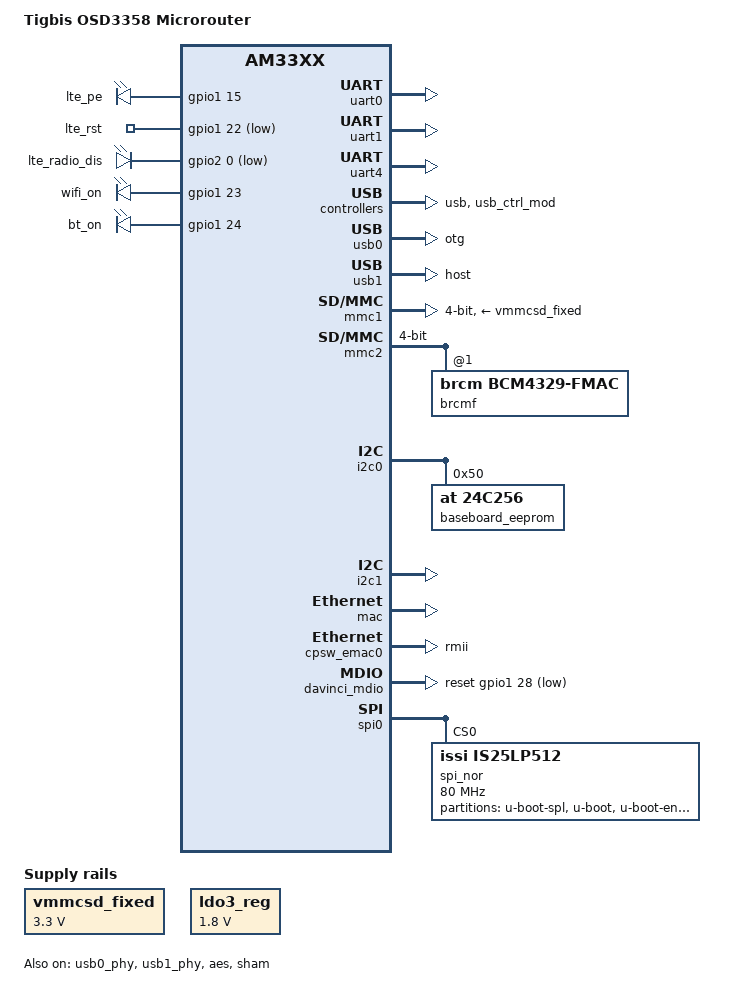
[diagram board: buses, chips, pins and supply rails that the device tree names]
/dts-v1/;

#include "am33xx.dtsi"
#include "am335x-osd335x-common.dtsi"
 
 / {
	model = "Tigbis OSD3358 Microrouter";
	compatible = "tig,osd3358-microrouter", "ti,am33xx";
	
 	vmmcsd_fixed: fixedregulator@0 {
 		compatible = "regulator-fixed";
 		regulator-name = "vmmcsd_fixed";
 		regulator-min-microvolt = <3300000>;
 		regulator-max-microvolt = <3300000>;
 	};
	
	lte_control {
		compatible = "gpio-leds";
		
		lte_pe {
			gpios = <&gpio1 15 GPIO_ACTIVE_HIGH>;
			default-state = "off";
		};
		
		lte_rst {
			gpios = <&gpio1 22 GPIO_ACTIVE_LOW>;
			default-state = "off";
		};
		
		lte_radio_dis {
			gpios = <&gpio2 0 GPIO_ACTIVE_LOW>;
			default-state = "off";
		};
	};
 
	 wifi_control {
		compatible = "gpio-leds";
		
		wifi_on {
			gpios = <&gpio1 23 GPIO_ACTIVE_HIGH>;
			default-state = "off";
		};
		
		bt_on {
			gpios = <&gpio1 24 GPIO_ACTIVE_HIGH>;
			default-state = "off";
		};
	 };
 };
 
 &gpio1 {
	pinctrl-names = "default";
	pinctrl-0 = <&gpio1_pins_default>;
	status = "okay";
 };
 
 &gpio2 {
	pinctrl-names = "default";
	pinctrl-0 = <&gpio2_pins_default>;
	status = "okay";
 };

 &uart0 {
 	pinctrl-names = "default";
 	pinctrl-0 = <&uart0_pins>;

 	status = "okay";
 };
 
 &uart1 {
 	pinctrl-names = "default";
 	pinctrl-0 = <&bt_pins_default>;

 	status = "okay";
 };
 
 &uart4 {
 	pinctrl-names = "default";
 	pinctrl-0 = <&lte_pins_default>;

 	status = "okay";
 };

 &usb {
 	status = "okay";
 };

 &usb_ctrl_mod {
 	status = "okay";
 };

 &usb0_phy {
 	status = "okay";
 };

 &usb1_phy {
 	status = "okay";
 };

 &usb0 {
 	status = "okay";
 	dr_mode = "otg";
 };

 &usb1 {
 	status = "okay";
 	dr_mode = "host";
 };

 &cppi41dma  {
 	status = "okay";
 };

&ldo3_reg {
	regulator-min-microvolt = <1800000>;
	regulator-max-microvolt = <1800000>;
	regulator-always-on;
};

&mmc1 {
  status = "okay";
  bus-width = <0x4>;
  pinctrl-names = "default";
  pinctrl-0 = <&sd_card_pins_default>;

	vmmc-supply = <&vmmcsd_fixed>;
};

&mmc2 {
  #address-cells = <1>;
  #size-cells = <0>;
  status = "okay";
  bus-width = <0x4>;
  pinctrl-names = "default";
  pinctrl-0 = <&wifi_pins_default>;
  ti,non-removable;
  //vmmc-supply = <&vmmcsd_fixed>;

	brcmf: bcrmf@1 {
		reg = <1>;
		compatible = "brcm,bcm4329-fmac";
	};
};


&cpu0_opp_table {
	/*
	 * All PG 2.0 silicon may not support 1GHz but some of the early
	 * BeagleBone Blacks have PG 2.0 silicon which is guaranteed
	 * to support 1GHz OPP so enable it for PG 2.0 on this board.
	 */
	oppnitro@1000000000 {
		opp-supported-hw = <0x06 0x0100>;
	};
};

&aes {
	status = "okay";
};

&sham {
	status = "okay";
};

&wkup_m3_ipc {
	ti,scale-data-fw = "am335x-bone-scale-data.bin";
};

&am33xx_pinmux {

	gpio1_pins_default: gpio1_pins_default {
		pinctrl-single,pins = <
			AM33XX_IOPAD(0x83c, PIN_OUTPUT_PULLDOWN | MUX_MODE7) /* (U13) gpmc_ad15.gpio1[15] LTE Power En*/
			AM33XX_IOPAD(0x858, PIN_OUTPUT_PULLUP | MUX_MODE7) /* (U15) gpmc_a6.gpio1[22] LTE Reset*/
			AM33XX_IOPAD(0x85c, PIN_OUTPUT_PULLDOWN | MUX_MODE7) /* (T15) gpmc_a7.gpio1[23] Wifi On*/
			AM33XX_IOPAD(0x860, PIN_OUTPUT_PULLDOWN | MUX_MODE7) /* (V16) gpmc_a8.gpio1[24] BT On*/
		>;
	};
	
	gpio2_pins_default: gpio2_pins_default {
		pinctrl-single,pins = <
			AM33XX_IOPAD(0x888, PIN_OUTPUT_PULLUP | MUX_MODE7) /* (T13) gpmc_csn3.gpio2[0] - LTE Radio Disable*/
			AM33XX_IOPAD(0x88c, PIN_INPUT_PULLUP | MUX_MODE7) /* (V12) gpmc_clk.gpio2[1] - Reset Config*/
		>;
	};
	
	usb_i2c_pins_default: usb_i2c_pins_default {
	pinctrl-single,pins = <
		AM33XX_IOPAD(0x96c, PIN_INPUT | MUX_MODE3) /* (E17) uart0_rtsn.I2C1_SCL */
		AM33XX_IOPAD(0x968, PIN_INPUT | MUX_MODE3) /* (E18) uart0_ctsn.I2C1_SDA */
	>;
	};

	uart0_pins: pinmux_uart0_pins {
	  pinctrl-single,pins = <
		AM33XX_IOPAD(0x970, PIN_INPUT_PULLUP | MUX_MODE0)	/* uart0_rxd.uart0_rxd */
		AM33XX_IOPAD(0x974, PIN_OUTPUT_PULLDOWN | MUX_MODE0)	/* uart0_txd.uart0_txd */
	  >;
	};

	eth_mdio_pins_default: eth_mdio_pins_default {
		pinctrl-single,pins = <
			AM33XX_IOPAD(0x94c, PIN_OUTPUT | MUX_MODE0) /* (M18) mdio_clk.mdio_clk */
			AM33XX_IOPAD(0x948, PIN_INPUT | MUX_MODE0) /* (M17) mdio_data.mdio_data */
			AM33XX_IOPAD(0x878, PIN_OUTPUT_PULLUP | MUX_MODE7) /* (U18) gpmc_be1n.gpio1[28] ETH Reset*/
		>;
	};
	
	sd_card_pins_default: sd_card_pins_default {
		pinctrl-single,pins = <
			AM33XX_IOPAD(0x900, PIN_INPUT | MUX_MODE0) /* (G17) mmc0_clk.mmc0_clk */
			AM33XX_IOPAD(0x904, PIN_INPUT | MUX_MODE0) /* (G18) mmc0_cmd.mmc0_cmd */
			AM33XX_IOPAD(0x8fc, PIN_INPUT | MUX_MODE0) /* (G16) mmc0_dat0.mmc0_dat0 */
			AM33XX_IOPAD(0x8f8, PIN_INPUT | MUX_MODE0) /* (G15) mmc0_dat1.mmc0_dat1 */
			AM33XX_IOPAD(0x8f4, PIN_INPUT | MUX_MODE0) /* (F18) mmc0_dat2.mmc0_dat2 */
			AM33XX_IOPAD(0x8f0, PIN_INPUT | MUX_MODE0) /* (F17) mmc0_dat3.mmc0_dat3 */
		>;
	};
	
	wifi_pins_default: wifi_pins_default {
		pinctrl-single,pins = <
			AM33XX_IOPAD(0x880, PIN_INPUT | MUX_MODE2) /* (U9) gpmc_csn1.mmc1_clk */
			AM33XX_IOPAD(0x884, PIN_INPUT | MUX_MODE2) /* (V9) gpmc_csn2.mmc1_cmd */
			AM33XX_IOPAD(0x800, PIN_INPUT | MUX_MODE1) /* (U7) gpmc_ad0.mmc1_dat0 */
			AM33XX_IOPAD(0x804, PIN_INPUT | MUX_MODE1) /* (V7) gpmc_ad1.mmc1_dat1 */
			AM33XX_IOPAD(0x808, PIN_INPUT | MUX_MODE1) /* (R8) gpmc_ad2.mmc1_dat2 */
			AM33XX_IOPAD(0x80c, PIN_INPUT | MUX_MODE1) /* (T8) gpmc_ad3.mmc1_dat3 */
		>;
	};
	
	myrmii1_pins_default: myrmii1_pins_default {
		pinctrl-single,pins = <
			AM33XX_IOPAD(0x90c, PIN_INPUT_PULLUP | MUX_MODE1) /* (H17) gmii1_crs.rmii1_crs_dv */
			AM33XX_IOPAD(0x910, PIN_INPUT_PULLDOWN | MUX_MODE1) /* (J15) gmii1_rxer.rmii1_rxer */
			AM33XX_IOPAD(0x914, PIN_OUTPUT_PULLDOWN | MUX_MODE1) /* (J16) gmii1_txen.rmii1_txen */
			AM33XX_IOPAD(0x928, PIN_OUTPUT_PULLDOWN | MUX_MODE1) /* (K17) gmii1_txd0.rmii1_txd0 */
			AM33XX_IOPAD(0x924, PIN_OUTPUT_PULLDOWN | MUX_MODE1) /* (K16) gmii1_txd1.rmii1_txd1 */
			AM33XX_IOPAD(0x940, PIN_INPUT_PULLUP | MUX_MODE1) /* (M16) gmii1_rxd0.rmii1_rxd0 */
			AM33XX_IOPAD(0x93c, PIN_INPUT_PULLUP | MUX_MODE1) /* (L15) gmii1_rxd1.rmii1_rxd1 */
			AM33XX_IOPAD(0x944, PIN_INPUT_PULLUP | MUX_MODE0) /* (H18) rmii1_refclk.rmii1_refclk */
		>;
	};
	
	spi_flash_pins_default: spi_flash_pins_default {
		pinctrl-single,pins = <
			AM33XX_IOPAD(0x950, PIN_INPUT_PULLDOWN | MUX_MODE0) /* (A17) spi0_sclk.spi0_sclk */
			AM33XX_IOPAD(0x954, PIN_INPUT_PULLUP | MUX_MODE0) /* (B17) spi0_d0.spi0_d0 */
			AM33XX_IOPAD(0x958, PIN_INPUT_PULLDOWN | MUX_MODE0) /* (B16) spi0_d1.spi0_d1 */
			AM33XX_IOPAD(0x95c, PIN_INPUT_PULLUP | MUX_MODE0) /* (A16) spi0_cs0.spi0_cs0 */
		>;
	};
	
	lte_pins_default: lte_pins_default {
		pinctrl-single,pins = <
			AM33XX_IOPAD(0x870, PIN_INPUT | MUX_MODE6) /* (T17) gpmc_wait0.uart4_rxd */
			AM33XX_IOPAD(0x874, PIN_OUTPUT | MUX_MODE6) /* (U17) gpmc_wpn.uart4_txd */
		>;
	};

	bt_pins_default: bt_pins_default {
		pinctrl-single,pins = <
			AM33XX_IOPAD(0x980, PIN_INPUT | MUX_MODE0) /* (D16) uart1_rxd.uart1_rxd */
			AM33XX_IOPAD(0x984, PIN_OUTPUT | MUX_MODE0) /* (D15) uart1_txd.uart1_txd */
		>;
	};

};

&i2c0 {

	baseboard_eeprom: baseboard_eeprom@50 {
    compatible = "at,24c256";
    reg = <0x50>;

    #address-cells = <1>;
    #size-cells = <1>;
    baseboard_data: baseboard_data@0 {
      reg = <0 0x100>;
    };
  };

};

&i2c1 {
	pinctrl-names = "default";
	pinctrl-0 = <&usb_i2c_pins_default>;
	status = "okay";

};

&mac {
	pinctrl-names = "default";
	pinctrl-0 = <&myrmii1_pins_default>;
	status = "okay";
	slaves = <1>;
};

&cpsw_emac0 {
	phy_id = <&davinci_mdio>, <0>;
    phy-mode = "rmii";
};


&davinci_mdio {
	pinctrl-names = "default";
	pinctrl-0 = <&eth_mdio_pins_default>;
	status = "okay";
	reset-gpios = <&gpio1 28 GPIO_ACTIVE_LOW>;
    reset-delay-us = <100>;
};

&phy_sel {
    rmii-clock-ext;
};


&spi0 {
	status = "okay";
	pinctrl-names = "default";
	pinctrl-0 = <&spi_flash_pins_default>;

	spi_nor: flash@0 {
		#address-cells = <1>;
		#size-cells = <1>;
		compatible = "issi,is25lp512", "jedec,spi-nor";
		spi-max-frequency = <80000000>;
		m25p,fast-read;
		reg = <0>;

		partition@0 {
			label = "u-boot-spl";
			reg = <0x0 0x20000>;
			read-only;
		};

		partition@1 {
			label = "u-boot";
			reg = <0x20000 0x100000>;
			read-only;
		};

		partition@2 {
			label = "u-boot-env";
			reg = <0x120000 0x10000>;
			read-only;
		};
		
		partition@3 {
			label = "u-boot-env-bak";
			reg = <0x130000 0x10000>;
			read-only;
		};


		partition@4 {
			label = "misc";
			reg = <0x140000 0x660000>;
		};
	};

};

&rtc {
	clocks = <&clk_32768_ck>, <&l4_per_clkctrl AM3_CLKDIV32K_CLKCTRL 0>;
	clock-names = "ext-clk", "int-clk";
};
